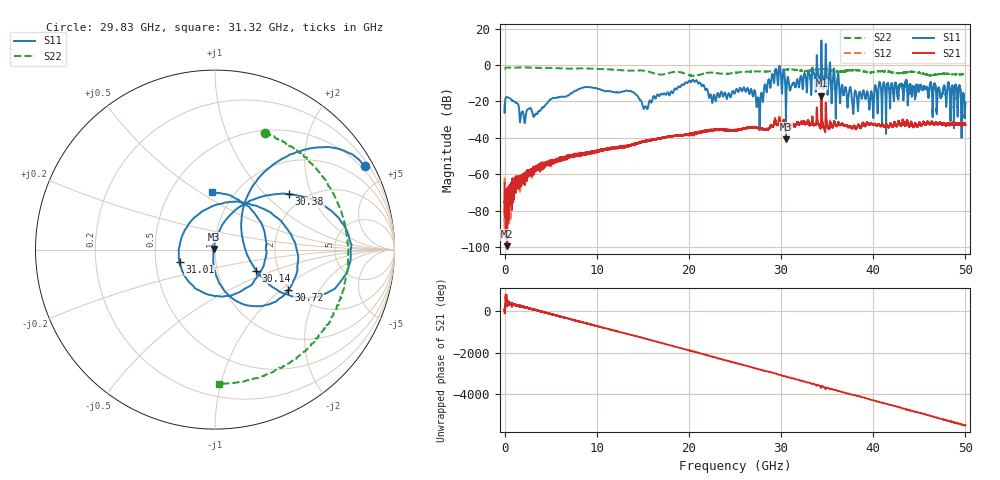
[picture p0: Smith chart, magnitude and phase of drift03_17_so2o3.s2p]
!Created with skrf (http://scikit-rf.org).
# Hz S RI R 50.0
!freq ReS11 ImS11 ReS21 ImS21 ReS12 ImS12 ReS22 ImS22
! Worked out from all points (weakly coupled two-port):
!   10001 points, 300 kHz to 50 GHz, reference 50 ohm
!   highest |S21| = -16.81 dB at 34.38 GHz (marker M1); lowest = -99.5 dB at 285.3 MHz (marker M2)
!   lowest |S11| = -40.8 dB at 30.53 GHz (marker M3), VSWR 1.02, Z = 49.2 + j0.405 ohm
!   |S11| at or under -10 dB: start of sweep to 19.56 GHz; 21.25 GHz to 28.55 GHz (7.295 GHz wide, 29.3 % of centre); 36.28 GHz to 40.63 GHz (4.348 GHz wide, 11.3 % of centre) (the widest 3 of 38)
!   |S22| runs from -5.9 to -1.3 dB; largest |S21 - S12| = 0.028
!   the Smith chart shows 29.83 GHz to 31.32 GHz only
!   S11 on the Smith chart (normalised r, x): 29.83 GHz: 0.34, +3.85; 30.14 GHz: 1.54, -0.39; 30.38 GHz: 1.67, +1.40; 30.72 GHz: 1.96, -1.12; 31.01 GHz: 0.66, -0.10; 31.32 GHz: 0.79, +0.56
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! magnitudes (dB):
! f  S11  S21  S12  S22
! 300 kHz  -21.9  -64.8  -61.9  -2.1
! 285.3 MHz  -17.6  -99.5  -77.1  -1.4
! 3.3 GHz  -27.3  -56.8  -56.7  -1.5
! 8.335 GHz  -12.6  -48.9  -48.9  -1.9
! 15.29 GHz  -22.9  -41.8  -41.9  -3.3
! 16.67 GHz  -16.5  -40.4  -40.5  -5.2
! 20.26 GHz  -9.2  -38.0  -38.4  -5.8
! 22.71 GHz  -16.4  -35.5  -35.7  -4.2
! 25 GHz  -15.3  -35.9  -35.7  -4.2
! 27.53 GHz  -17.9  -34.7  -34.5  -3.5
! 29.83 GHz  -0.4  -29.2  -28.7  -3.0
! 30.14 GHz  -11.8  -33.3  -33.4  -2.8
! 30.38 GHz  -5.8  -32.3  -32.5  -2.6
! 30.53 GHz  -40.8  -34.1  -34.1  -2.6
! 30.72 GHz  -6.6  -32.7  -32.7  -2.5
! 31.01 GHz  -13.6  -34.2  -34.3  -2.4
! 31.32 GHz  -9.9  -32.4  -32.4  -2.5
! 33.34 GHz  -7.4  -31.4  -31.2  -2.9
! 34.38 GHz  12.9  -16.8  -18.2  -2.3
! 37.84 GHz  -26.8  -34.0  -34.3  -2.8
! 41.67 GHz  -11.7  -34.3  -34.1  -3.7
! 50 GHz  -20.5  -33.1  -32.8  -5.0
